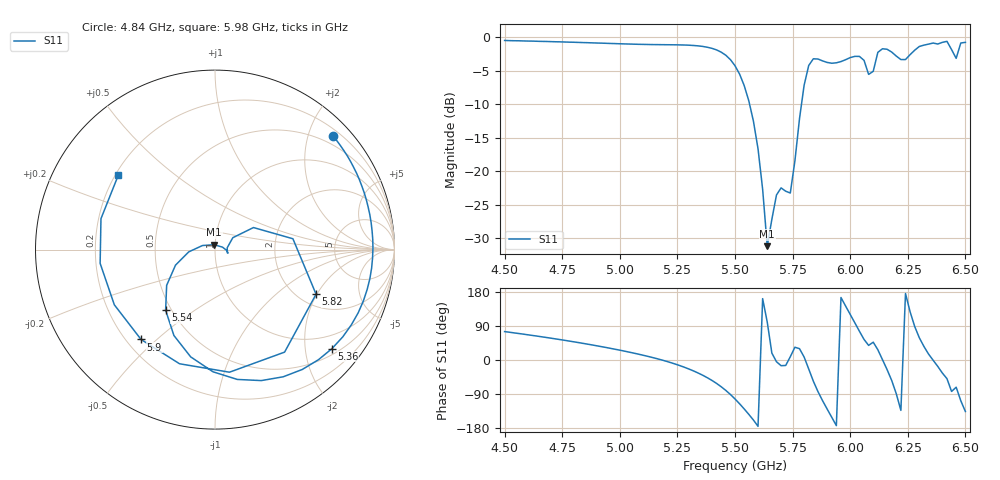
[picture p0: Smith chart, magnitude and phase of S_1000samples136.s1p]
! TOUCHSTONE file generated by CST MICROWAVE STUDIO
! Date and time: Thu Oct 27 03:13:42 2022
! Project name: L.cst
! Parameters = {Di=1.27; Epsilon_r=1.56; InnerDiameter=1.27; Length=2; Lf=10; Lg=60; OuterConductorThickness=0.2921; OuterDiameter=3.6; Wf=3; Wp=41.2; de=1.5; df=6.8; g=0.8; gx=2.96754; gy=1.88784; h=2.34; hf=1.524; px=8.09571; py=14.2868; w=9.7; wx=5.12817; wy=12.3989}
! Header version: 2018
! Port assignment regex: !\s*Touchstone port\s*([0-9]+)\s*=\s*(CST MWS port|CST DS port)\s*([0-9]+|Zmin|Zmax)\s*\(\"(.*)\"\)(\s*mode\s*([0-9]+))?.*
! Touchstone port assignment:
! Touchstone port 1 = CST MWS port 1 ("")
# GHz S DB R 50
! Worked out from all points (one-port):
!   101 points, 4.5 GHz to 6.5 GHz, reference 50 ohm
!   lowest |S11| = -31.2 dB at 5.64 GHz (marker M1), VSWR 1.06, Z = 49.5 + j2.69 ohm
!   |S11| at or under -10 dB: 5.563 GHz to 5.789 GHz (225.3 MHz wide, 3.97 % of centre)
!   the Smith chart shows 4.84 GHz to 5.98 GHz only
!   S11 on the Smith chart (normalised r, x): 4.84 GHz: 0.32, +2.44; 5.36 GHz: 0.64, -2.59; 5.54 GHz: 0.47, -0.39; 5.82 GHz: 2.46, -1.97; 5.9 GHz: 0.26, -0.45; 5.98 GHz: 0.21, +0.33
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4.5  -0.48 75.0
4.76  -0.71 52.0
4.84  -0.80 43.9
5  -0.97 25.9
5.26  -1.15 -14.7
5.36  -1.37 -40.3
5.5  -4.25 -102.8
5.54  -7.22 -129.2
5.6  -16.66 -175.1
5.64  -31.18 99.9
5.76  -18.46 33.7
5.82  -4.22 -23.8
5.86  -3.25 -83.3
5.9  -3.76 -129.4
5.98  -3.36 142.5
6  -3.04 120.3
6.04  -2.86 76.0
6.14  -1.72 1.0
6.2  -2.81 -89.0
6.24  -3.33 175.5
6.26  -2.60 127.3
6.3  -1.38 58.7
6.36  -0.87 -0.7
6.42  -0.62 -49.2
6.44  -1.84 -83.0
6.46  -3.15 -71.8
6.48  -0.86 -107.4
6.5  -0.76 -135.9
